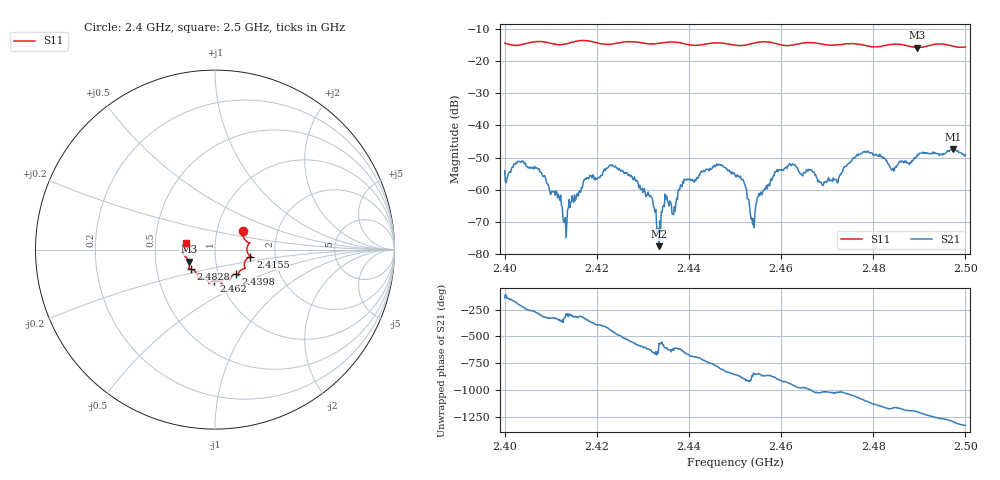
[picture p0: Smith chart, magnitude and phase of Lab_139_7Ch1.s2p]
# Hz S RI R 50
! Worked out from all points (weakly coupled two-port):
!   601 points, 2.4 GHz to 2.5 GHz, reference 50 ohm
!   highest |S21| = -47.50 dB at 2.4973 GHz (marker M1); lowest = -77.5 dB at 2.4335 GHz (marker M2)
!   lowest |S11| = -15.9 dB at 2.4895 GHz (marker M3), VSWR 1.38, Z = 37 - j5.04 ohm
!   |S11| at or under -10 dB: start of sweep to end of sweep
!   S12 and S22 are empty: the file has one direction only
!   S11 on the Smith chart (normalised r, x): 2.4 GHz: 1.33, +0.29; 2.4155 GHz: 1.49, -0.12; 2.4398 GHz: 1.21, -0.34; 2.462 GHz: 0.93, -0.33; 2.4828 GHz: 0.74, -0.17; 2.5 GHz: 0.72, +0.06
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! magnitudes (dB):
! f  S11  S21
! 2.4 GHz  -14.5  -54.1
! 2.407 GHz  -14.0  -53.2
! 2.4132 GHz  -14.8  -68.6
! 2.4155 GHz  -13.9  -62.8
! 2.4167 GHz  -13.7  -59.3
! 2.4238 GHz  -14.7  -52.9
! 2.4317 GHz  -14.8  -61.8
! 2.4333 GHz  -14.6  -72.0
! 2.4335 GHz  -14.5  -77.5
! 2.4348 GHz  -14.3  -61.3
! 2.4367 GHz  -14.2  -67.7
! 2.4398 GHz  -15.0  -56.8
! 2.45 GHz  -15.2  -55.4
! 2.4538 GHz  -14.6  -70.8
! 2.4553 GHz  -14.2  -61.9
! 2.462 GHz  -15.2  -52.2
! 2.4667 GHz  -14.4  -53.9
! 2.4828 GHz  -15.2  -51.2
! 2.4833 GHz  -15.0  -52.0
! 2.4895 GHz  -15.9  -49.7
! 2.4973 GHz  -15.5  -47.5
! 2.5 GHz  -15.7  -49.3
